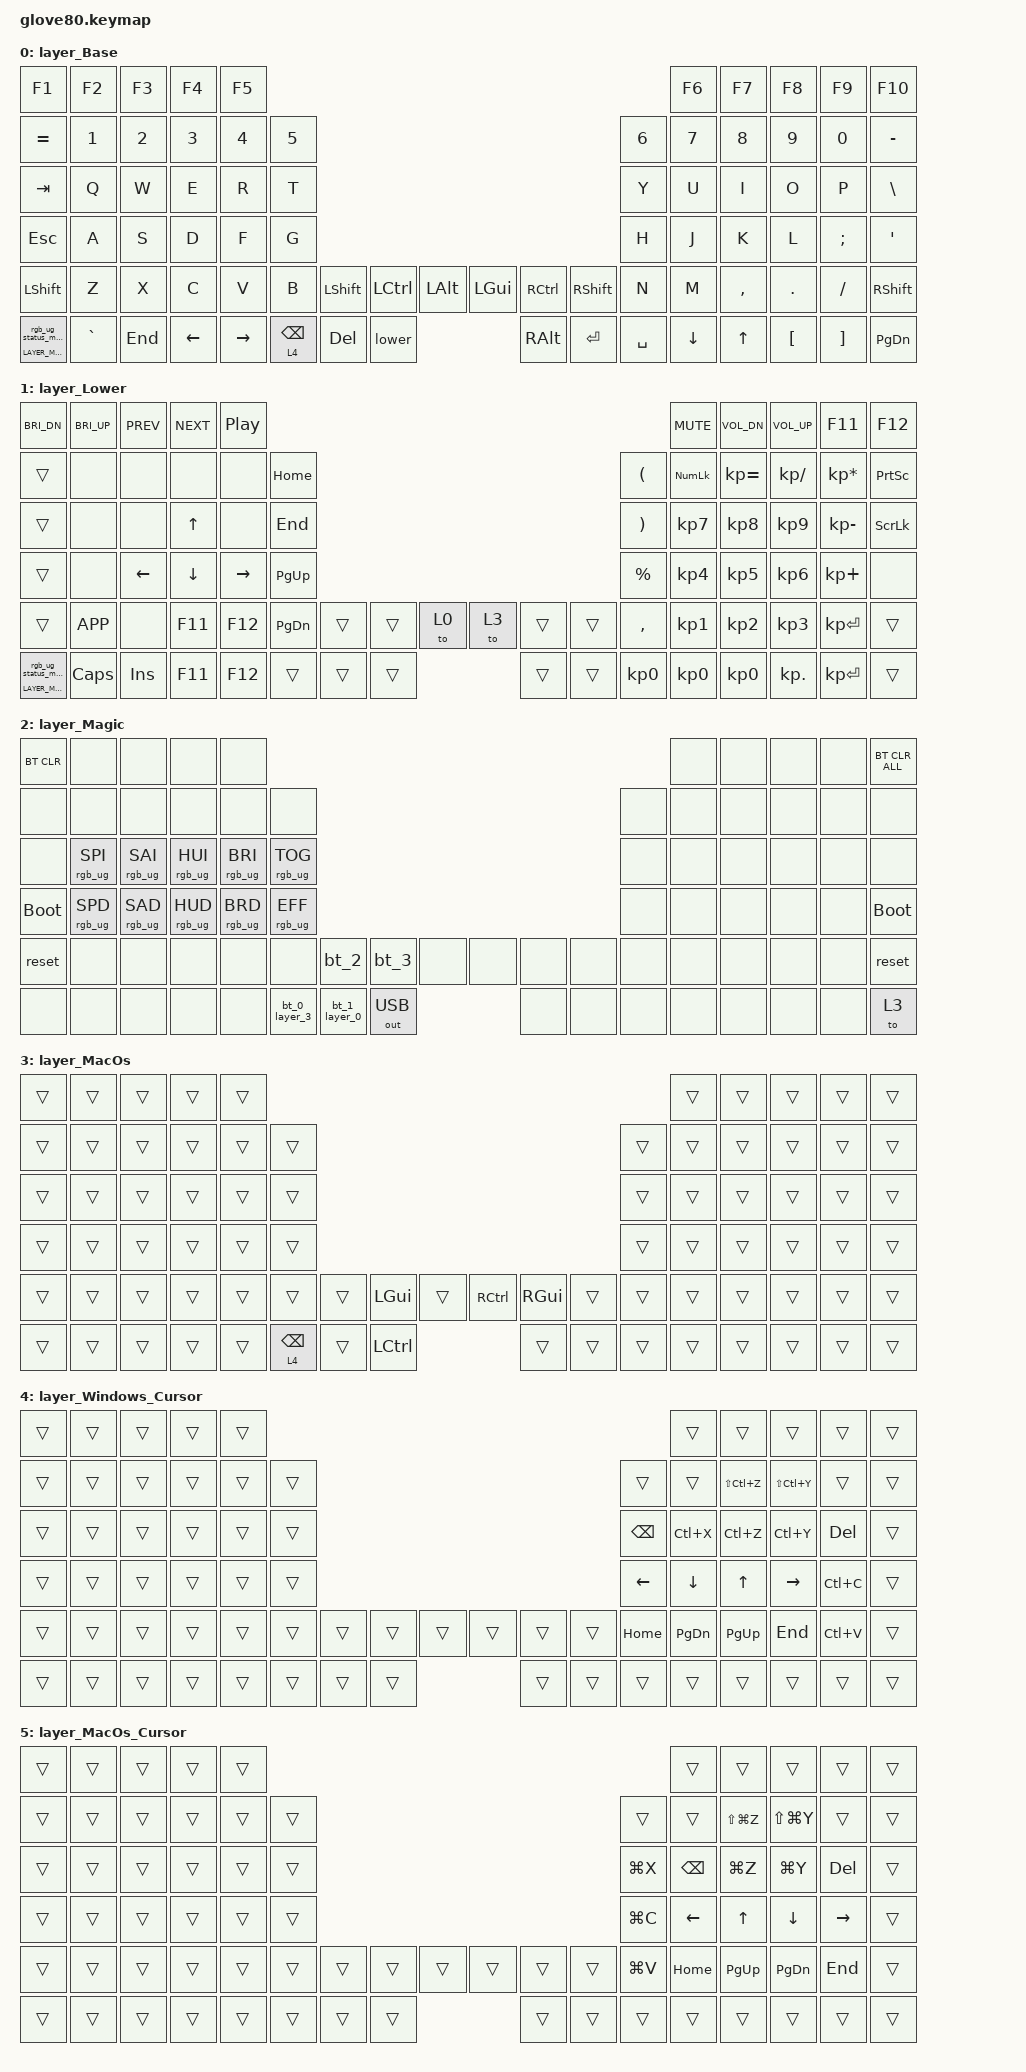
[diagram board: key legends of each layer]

/*
 * Copyright (c) 2020 The ZMK Contributors
 * Copyright (c) 2022 Innaworks Development Limited, trading as MoErgo
 *
 * SPDX-License-Identifier: MIT
 */


/* THIS FILE WAS GENERATED BY GLOVE80 LAYOUT EDITOR
 *
 * This file was generated automatically. You may or may not want to
 * edit it directly.
 */

#include <behaviors.dtsi>
/* Include all behaviour includes needed by system behaviors/macros */
#include <dt-bindings/zmk/outputs.h>

/* Include behaviour includes needed by key binds - automatically generated */
#include <dt-bindings/zmk/keys.h>
#include <dt-bindings/zmk/bt.h>
#include <dt-bindings/zmk/rgb.h>
#include <dt-bindings/zmk/outputs.h>

/* To deal with the situation where there is no Lower layer, to keep &lower happy */
// #define LAYER_Lower 0

/* Automatically generated layer name #define */
#define LAYER_Base 0
#define LAYER_Lower 1
#define LAYER_Magic 2
#define LAYER_MacOs 3
#define LAYER_Windows_Cursor 4
#define LAYER_MacOs_Cursor 5

/ {
    /* Glove80 system behavior & macros */
    behaviors {
        // For the "layer" key, it'd nice to be able to use it as either a shift or a toggle.
        // Configure it as a tap dance, so the first tap (or hold) is a &mo and the second tap is a &to
        lower: lower {
            compatible = "zmk,behavior-tap-dance";
            label = "LAYER_TAP_DANCE";
            #binding-cells = <0>;
            tapping-term-ms = <200>;
            bindings = <&mo LAYER_Lower>, <&to LAYER_Lower>;
        };
    };
};

/ {
    macros {
        rgb_ug_status_macro: rgb_ug_status_macro {
            label = "RGB_UG_STATUS";
            compatible = "zmk,behavior-macro";
            #binding-cells = <0>;
            bindings
                = <&rgb_ug RGB_STATUS>;
        };

        bt_0: bt_0 {
            label = "BT_0";
            compatible = "zmk,behavior-macro";
            #binding-cells = <0>;
            bindings
                = <&out OUT_BLE>,
                  <&bt BT_SEL 0>;
        };

        bt_1: bt_1 {
            label = "BT_1";
            compatible = "zmk,behavior-macro";
            #binding-cells = <0>;
            bindings
                = <&out OUT_BLE>,
                  <&bt BT_SEL 1>;
        };

        bt_2: bt_2 {
            label = "BT_2";
            compatible = "zmk,behavior-macro";
            #binding-cells = <0>;
            bindings
                = <&out OUT_BLE>,
                  <&bt BT_SEL 2>;
        };

        bt_3: bt_3 {
            label = "BT_3";
            compatible = "zmk,behavior-macro";
            #binding-cells = <0>;
            bindings
                = <&out OUT_BLE>,
                  <&bt BT_SEL 3>;
        };
    };
};

/ {
    magic: magic {
        compatible = "zmk,behavior-hold-tap";
        label = "MAGIC_HOLD_TAP";
        #binding-cells = <2>;
        flavor = "tap-preferred";
        tapping-term-ms = <200>;
        bindings = <&mo>, <&rgb_ug_status_macro>;
    };
};

    /* #define for key positions */
#define POS_LH_T1 52
#define POS_LH_T2 53
#define POS_LH_T3 54
#define POS_LH_T4 69
#define POS_LH_T5 70
#define POS_LH_T6 71
#define POS_LH_C1R2 15
#define POS_LH_C1R3 27
#define POS_LH_C1R4 39
#define POS_LH_C1R5 51
#define POS_LH_C2R1 4
#define POS_LH_C2R2 14
#define POS_LH_C2R3 26
#define POS_LH_C2R4 38
#define POS_LH_C2R5 50
#define POS_LH_C2R6 68
#define POS_LH_C3R1 3
#define POS_LH_C3R2 13
#define POS_LH_C3R3 25
#define POS_LH_C3R4 37
#define POS_LH_C3R5 49
#define POS_LH_C3R6 67
#define POS_LH_C4R1 2
#define POS_LH_C4R2 12
#define POS_LH_C4R3 24
#define POS_LH_C4R4 36
#define POS_LH_C4R5 48
#define POS_LH_C4R6 66
#define POS_LH_C5R1 1
#define POS_LH_C5R2 11
#define POS_LH_C5R3 23
#define POS_LH_C5R4 35
#define POS_LH_C5R5 47
#define POS_LH_C5R6 65
#define POS_LH_C6R1 0
#define POS_LH_C6R2 10
#define POS_LH_C6R3 22
#define POS_LH_C6R4 34
#define POS_LH_C6R5 46
#define POS_LH_C6R6 64
#define POS_RH_T1 57
#define POS_RH_T2 56
#define POS_RH_T3 55
#define POS_RH_T4 74
#define POS_RH_T5 73
#define POS_RH_T6 72
#define POS_RH_C1R2 16
#define POS_RH_C1R3 28
#define POS_RH_C1R4 40
#define POS_RH_C1R5 58
#define POS_RH_C2R1 5
#define POS_RH_C2R2 17
#define POS_RH_C2R3 29
#define POS_RH_C2R4 41
#define POS_RH_C2R5 59
#define POS_RH_C2R6 75
#define POS_RH_C3R1 6
#define POS_RH_C3R2 18
#define POS_RH_C3R3 30
#define POS_RH_C3R4 42
#define POS_RH_C3R5 60
#define POS_RH_C3R6 76
#define POS_RH_C4R1 7
#define POS_RH_C4R2 19
#define POS_RH_C4R3 31
#define POS_RH_C4R4 43
#define POS_RH_C4R5 61
#define POS_RH_C4R6 77
#define POS_RH_C5R1 8
#define POS_RH_C5R2 20
#define POS_RH_C5R3 32
#define POS_RH_C5R4 44
#define POS_RH_C5R5 62
#define POS_RH_C5R6 78
#define POS_RH_C6R1 9
#define POS_RH_C6R2 21
#define POS_RH_C6R3 33
#define POS_RH_C6R4 45
#define POS_RH_C6R5 63
#define POS_RH_C6R6 79

    /* Custom Defined Behaviors */
/ {
    //////////////////////////////////////////////////////////////////////
// NOTE: Use the `#define` settings below to customize this keymap! //
//////////////////////////////////////////////////////////////////////
// IMPORTANT: You need to set Firmware Version to "pr19.zephyr-3-2" //
// under Settings > Advanced Settings in the Glove80 Layout Editor  //
// if you want to use the `hold-trigger-on-release` feature in ZMK. //
//////////////////////////////////////////////////////////////////////
// CAUTION: PR19 firmware is not production quality; it has issues: //
// https://discord.com/channels/877392805654306816/1137025078979203142
//////////////////////////////////////////////////////////////////////
//
// Sunaku's Keymap v23 featuring Engrammer layout and legendary Miryoku
// - https://github.com/sunaku/glove80-keymaps
// - https://sunaku.github.io/moergo-glove80-keyboard.html
// - https://sunaku.github.io/engrammer-keyboard-layout.html
// - https://discord.com/channels/877392805654306816/1111469812850380831
//

behaviors {

    //
    // Miryoku layers and home row mods (ported from my QMK endgame)
    // - https://sunaku.github.io/home-row-mods.html#porting-to-zmk
    // - https://github.com/urob/zmk-config#timeless-homerow-mods
    //
    //----------------------------------------------------------------
    //               homey fingers (pinky, ring, middle)
    //----------------------------------------------------------------
    //
    // HOMEY_HOLDING_TYPE defines the flavor of ZMK hold-tap behavior to use
    // for the pinky, ring, and middle fingers (which are assigned to Super,
    // Alt, and Ctrl respectively in the Miryoku system) on home row keys.
    //
    #define HOMEY_HOLDING_TYPE "tap-preferred"
    //
    // HOMEY_HOLDING_TIME defines how long you need to hold (milliseconds)
    // home row mod keys in order to send their modifiers to the computer
    // (i.e. "register" them) for mod-click mouse usage (e.g. Ctrl-Click).
    //
    #define HOMEY_HOLDING_TIME 270 // TAPPING_TERM + ALLOW_CROSSOVER_AFTER
    //
    //
    // HOMEY_STREAK_DECAY defines how long you need to wait (milliseconds)
    // after typing before you can use home row mods again.  It prevents
    // unintended activation of home row mods when you're actively typing.
    //
    #define HOMEY_STREAK_DECAY 170 // global-quick-tap-ms
    //
    //----------------------------------------------------------------
    //                          index fingers
    //----------------------------------------------------------------
    //
    // INDEX_HOLDING_TYPE defines the flavor of ZMK hold-tap behavior to use
    // for index fingers (which Miryoku assigns to Shift) on home row keys.
    //
    // NOTE: The "tap-preferred" flavor of ZMK hold-tap for index finger keys
    // allows faster activation of the Shift modifier (without having to wait
    // for the modified key to be released as the "balanced" flavor requires).
    // Typing streaks and the `hold-trigger-on-release` setting are disabled
    // for the index fingers so as not to hinder their speed and dexterity.
    //
    #define INDEX_HOLDING_TYPE "tap-preferred"
    //
    // INDEX_HOLDING_TIME defines how long you need to hold (milliseconds)
    // index finger keys in order to send their modifiers to the computer
    // (i.e. "register" them) for mod-click mouse usage (e.g. Shift-Click).
    //
    // CAUTION: You'll need to perform inward rolls from pinky->ring->middle
    // fingers toward the index fingers when activating multiple modifiers
    // because `hold-trigger-on-release` is disabled for the index fingers.
    // Otherwise, you may be surprised that the index fingers' modifier is
    // sent immediately without the rest of your multi-mod chord when you
    // perform outward rolls from your index fingers toward your pinkies.
    //
    #define INDEX_HOLDING_TIME 170
    //
    // INDEX_STREAK_DECAY defines how long you need to wait (milliseconds)
    // after typing before you can use home row mods again.  It prevents
    // unintended activation of home row mods when you're actively typing.
    //
    #define INDEX_STREAK_DECAY 70 // global-quick-tap-ms
    //
    //----------------------------------------------------------------
    //                              thumbs
    //----------------------------------------------------------------
    //
    // THUMB_HOLDING_TYPE defines the flavor of ZMK hold-tap behavior to use
    // for the thumbs (which are assigned to 6 layers in the Miryoku system).
    //
    // NOTE: The "balanced" flavor of ZMK hold-tap provides instant modifier
    // activation for the symbol layer (if the tapped symbol key is released
    // while the thumb layer key is still held down) for quicker programming.
    //
    #define THUMB_HOLDING_TYPE "balanced"
    //
    // THUMB_HOLDING_TIME defines how long you need to hold (milliseconds)
    // a thumb key to activate a layer.  Shorter holds are treated as taps.
    //
    #define THUMB_HOLDING_TIME 170
    //
    // THUMB_REPEAT_DECAY defines how much time you have left (milliseconds)
    // after tapping a key to hold it again in order to make it auto-repeat.
    //
    #define THUMB_REPEAT_DECAY 200 // "tap then hold" for key auto-repeat
    //
    // Glove80 key positions index for positional hold-tap
    // - https://discord.com/channels/877392805654306816/937645688244826154/1066713913351221248
    // - https://media.discordapp.net/attachments/937645688244826154/1066713913133121556/image.png
    //
    // |------------------------|------------------------|
    // | LEFT_HAND_KEYS         |        RIGHT_HAND_KEYS |
    // |                        |                        |
    // |  0  1  2  3  4         |          5  6  7  8  9 |
    // | 10 11 12 13 14 15      |      16 17 18 19 20 21 |
    // | 22 23 24 25 26 27      |      28 29 30 31 32 33 |
    // | 34 35 36 37 38 39      |      40 41 42 43 44 45 |
    // | 46 47 48 49 50 51      |      58 59 60 61 62 63 |
    // | 64 65 66 67 68         |         75 76 77 78 79 |
    // |                69 52   |   57 74                |
    // |                 70 53  |  56 73                 |
    // |                  71 54 | 55 72                  |
    // |------------------------|------------------------|
    //
    #define LEFT_HAND_KEYS      \
          0  1  2  3  4         \
         10 11 12 13 14 15      \
         22 23 24 25 26 27      \
         34 35 36 37 38 39      \
         46 47 48 49 50 51      \
         64 65 66 67 68
    #define RIGHT_HAND_KEYS     \
                                           5  6  7  8  9 \
                                       16 17 18 19 20 21 \
                                       28 29 30 31 32 33 \
                                       40 41 42 43 44 45 \
                                       58 59 60 61 62 63 \
                                          75 76 77 78 79
    #define THUMB_KEYS          \
                        69 52       57 74                \
                         70 53     56 73                 \
                          71 54   55 72
    //
    // Home row mod-tap keys for all except index fingers
    //
    homey_left: miryoku_home_row_mods_left_hand {
        compatible = "zmk,behavior-hold-tap";
        label = "HOME_ROW_MODS_LEFT_HAND";
        flavor = HOMEY_HOLDING_TYPE;
        hold-trigger-key-positions = <RIGHT_HAND_KEYS THUMB_KEYS>;
        hold-trigger-on-release; // wait for other home row mods
        tapping-term-ms = <HOMEY_HOLDING_TIME>;
        quick-tap-ms = <HOMEY_STREAK_DECAY>;
        global-quick-tap; // with typing streak
        #binding-cells = <2>;
        bindings = <&kp>, <&kp>;
    };
    homey_right: miryoku_home_row_mods_right_hand {
        compatible = "zmk,behavior-hold-tap";
        label = "HOME_ROW_MODS_RIGHT_HAND";
        flavor = HOMEY_HOLDING_TYPE;
        hold-trigger-key-positions = <LEFT_HAND_KEYS THUMB_KEYS>;
        hold-trigger-on-release; // wait for other home row mods
        tapping-term-ms = <HOMEY_HOLDING_TIME>;
        quick-tap-ms = <HOMEY_STREAK_DECAY>;
        global-quick-tap; // with typing streak
        #binding-cells = <2>;
        bindings = <&kp>, <&kp>;
    };
    //
    // Special home row mod-tap keys for the index fingers
    //
    index_left: miryoku_home_row_mods_left_index_shift {
        compatible = "zmk,behavior-hold-tap";
        label = "HOME_ROW_MODS_LEFT_INDEX_SHIFT";
        flavor = INDEX_HOLDING_TYPE;
        hold-trigger-key-positions = <RIGHT_HAND_KEYS THUMB_KEYS>;
        //hold-trigger-on-release; // don't wait for other mods
        tapping-term-ms = <INDEX_HOLDING_TIME>;
        quick-tap-ms = <INDEX_STREAK_DECAY>;
        global-quick-tap; // with typing streak
        #binding-cells = <2>;
        bindings = <&kp>, <&kp>;
    };
    index_right: miryoku_home_row_mods_right_index_shift {
        compatible = "zmk,behavior-hold-tap";
        label = "HOME_ROW_MODS_RIGHT_INDEX_SHIFT";
        flavor = INDEX_HOLDING_TYPE;
        hold-trigger-key-positions = <LEFT_HAND_KEYS THUMB_KEYS>;
        //hold-trigger-on-release; // don't wait for other mods
        tapping-term-ms = <INDEX_HOLDING_TIME>;
        quick-tap-ms = <INDEX_STREAK_DECAY>;
        global-quick-tap; // with typing streak
        #binding-cells = <2>;
        bindings = <&kp>, <&kp>;
    };
    //
    // Thumb cluster hold-tap keys for Miryoku layers
    //
    thumb: miryoku_thumb_layer {
        compatible = "zmk,behavior-hold-tap";
        label = "MIRYOKU_LAYER_TAP_WITH_REPEAT";
        flavor = THUMB_HOLDING_TYPE;
        tapping-term-ms = <THUMB_HOLDING_TIME>;
        quick-tap-ms = <THUMB_REPEAT_DECAY>; // enable repeat
        //global-quick-tap; // no typing streak
        retro-tap; // allow slow (hold-like) taps
        #binding-cells = <2>;
        bindings = <&mo>, <&kp>;
    };

    // Shift + LEFT_PARENTHESIS = LESS_THAN
    parang_left: left_parenthesis_and_less_than {
        compatible = "zmk,behavior-mod-morph";
        label = "LEFT_PARENTHESIS_AND_LESS_THAN";
        #binding-cells = <0>;
        bindings = <&kp LEFT_PARENTHESIS>, <&kp LESS_THAN>;
        mods = <(MOD_LSFT|MOD_RSFT)>;
    };

    // Shift + RIGHT_PARENTHESIS = GREATER_THAN
    parang_right: right_parenthesis_and_greater_than {
        compatible = "zmk,behavior-mod-morph";
        label = "RIGHT_PARENTHESIS_AND_GREATER_THAN";
        #binding-cells = <0>;
        bindings = <&kp RIGHT_PARENTHESIS>, <&kp GREATER_THAN>;
        mods = <(MOD_LSFT|MOD_RSFT)>;
    };

    // Shift + CapsWord = CapsLock
    cappy: capsword_and_capslock {
        compatible = "zmk,behavior-mod-morph";
        label = "CAPSWORD_AND_CAPSLOCK";
        #binding-cells = <0>;
        bindings = <&caps_word>, <&kp CAPSLOCK>;
        mods = <(MOD_LSFT|MOD_RSFT)>;
    };

    //
    // CapsWord - ported from Pascal Getreuer's extension for QMK
    // - https://zmk.dev/docs/behaviors/caps-word
    // - https://getreuer.info/posts/keyboards/caps-word/index.html
    //
    behavior_caps_word {
        continue-list = <UNDERSCORE MINUS BACKSPACE DELETE N1 N2 N3 N4 N5 N6 N7 N8 N9 N0>;
    };

};

macros {

    //////////////////////////////////////////////////////////////////
    // Approximation of Pascal Getreuer's Select Word macro from QMK
    // - https://getreuer.info/posts/keyboards/select-word/index.html
    //////////////////////////////////////////////////////////////////
    //
    // SELECT_WORD_DELAY defines how long the macro waits (milliseconds)
    // after moving the cursor before it selects a word.  A larger delay
    // may allow the macro to move to the next word upon each invocation.
    //
    #define SELECT_WORD_DELAY 10

    select_word_right: select_word_right {
        compatible = "zmk,behavior-macro";
        label = "SELECT_WORD_RIGHT";
        #binding-cells = <0>;
        tap-ms = <0>;
        wait-ms = <0>;
        bindings
        = <&macro_tap &kp LC(RIGHT)>
        , <&macro_wait_time SELECT_WORD_DELAY> // let cursor move to the next word!
        , <&macro_tap &kp LC(LEFT) &kp LC(LS(RIGHT))>
        ;
    };
    extend_word_right: extend_word_right {
        compatible = "zmk,behavior-macro";
        label = "EXTEND_WORD_RIGHT";
        #binding-cells = <0>;
        tap-ms = <0>;
        wait-ms = <0>;
        bindings
        = <&macro_tap &kp LC(LS(RIGHT))>
        ;
    };
    select_line_right: select_line_right {
        compatible = "zmk,behavior-macro";
        label = "SELECT_LINE_RIGHT";
        #binding-cells = <0>;
        tap-ms = <0>;
        wait-ms = <0>;
        bindings
        = <&macro_tap &kp HOME &kp LS(END)>
        ;
    };
    extend_line_right: extend_line_right {
        compatible = "zmk,behavior-macro";
        label = "EXTEND_LINE_RIGHT";
        #binding-cells = <0>;
        tap-ms = <0>;
        wait-ms = <0>;
        bindings
        = <&macro_tap &kp LS(DOWN) &kp LS(END)>
        ;
    };
    select_word_left: select_word_left {
        compatible = "zmk,behavior-macro";
        label = "SELECT_WORD_LEFT";
        #binding-cells = <0>;
        tap-ms = <0>;
        wait-ms = <0>;
        bindings
        = <&macro_tap &kp LC(LEFT)>
        , <&macro_wait_time SELECT_WORD_DELAY> // let cursor move to the next word!
        , <&macro_tap &kp LC(RIGHT) &kp LC(LS(LEFT))>
        ;
    };
    extend_word_left: extend_word_left {
        compatible = "zmk,behavior-macro";
        label = "EXTEND_WORD_LEFT";
        #binding-cells = <0>;
        tap-ms = <0>;
        wait-ms = <0>;
        bindings
        = <&macro_tap &kp LC(LS(LEFT))>
        ;
    };
    select_line_left: select_line_left {
        compatible = "zmk,behavior-macro";
        label = "SELECT_LINE_LEFT";
        #binding-cells = <0>;
        tap-ms = <0>;
        wait-ms = <0>;
        bindings
        = <&macro_tap &kp END &kp LS(HOME)>
        ;
    };
    extend_line_left: extend_line_left {
        compatible = "zmk,behavior-macro";
        label = "EXTEND_LINE_LEFT";
        #binding-cells = <0>;
        tap-ms = <0>;
        wait-ms = <0>;
        bindings
        = <&macro_tap &kp LS(UP) &kp LS(HOME)>
        ;
    };
    select_word: select_word {
        compatible = "zmk,behavior-mod-morph";
        label = "SELECT_WORD";
        #binding-cells = <0>;
        bindings = <&select_word_right>, <&select_word_left>;
        mods = <(MOD_LSFT|MOD_RSFT)>;
    };
    extend_word: extend_word {
        compatible = "zmk,behavior-mod-morph";
        label = "EXTEND_WORD";
        #binding-cells = <0>;
        bindings = <&extend_word_right>, <&extend_word_left>;
        mods = <(MOD_LSFT|MOD_RSFT)>;
    };
    select_line: select_line {
        compatible = "zmk,behavior-mod-morph";
        label = "SELECT_LINE";
        #binding-cells = <0>;
        bindings = <&select_line_right>, <&select_line_left>;
        mods = <(MOD_LSFT|MOD_RSFT)>;
    };
    extend_line: extend_line {
        compatible = "zmk,behavior-mod-morph";
        label = "EXTEND_LINE";
        #binding-cells = <0>;
        bindings = <&extend_line_right>, <&extend_line_left>;
        mods = <(MOD_LSFT|MOD_RSFT)>;
    };

    bt_0_layer_3: bt_0_layer_3 {
        label = "BT_0";
        compatible = "zmk,behavior-macro";
        #binding-cells = <0>;
        bindings
            = <&out OUT_BLE>,
              <&bt BT_SEL 0>,
              <&to 3>;
    };

    bt_1_layer_0: bt_1_layer_0 {
        label = "BT_1";
        compatible = "zmk,behavior-macro";
        #binding-cells = <0>;
        bindings
            = <&out OUT_BLE>,
              <&bt BT_SEL 1>,
              <&to 0>;
    };
};
};

    /* Automatically generated keymap */
/ {
    keymap {
        compatible = "zmk,keymap";


        layer_Base {
            bindings = <
               &kp F1     &kp F2   &kp F3    &kp F4     &kp F5                                                                                             &kp F6     &kp F7    &kp F8    &kp F9    &kp F10
            &kp EQUAL     &kp N1   &kp N2    &kp N3     &kp N4  &kp N5                                                                           &kp N6    &kp N7     &kp N8    &kp N9    &kp N0  &kp MINUS
              &kp TAB      &kp Q    &kp W     &kp E      &kp R   &kp T                                                                            &kp Y     &kp U      &kp I     &kp O     &kp P   &kp BSLH
              &kp ESC      &kp A    &kp S     &kp D      &kp F   &kp G                                                                            &kp H     &kp J      &kp K     &kp L  &kp SEMI    &kp SQT
            &kp LSHFT      &kp Z    &kp X     &kp C      &kp V   &kp B           &kp LSHFT  &kp LCTRL  &kp LALT  &kp LGUI  &kp RCTRL  &kp RSHFT   &kp N     &kp M  &kp COMMA   &kp DOT  &kp FSLH  &kp RSHFT
 &magic LAYER_Magic 0  &kp GRAVE  &kp END  &kp LEFT  &kp RIGHT          &thumb 4 BACKSPACE    &kp DEL    &lower  &kp RALT    &kp RET  &kp SPACE          &kp DOWN     &kp UP  &kp LBKT  &kp RBKT  &kp PG_DN
            >;
        };

        layer_Lower {
            bindings = <
         &kp C_BRI_DN  &kp C_BRI_UP      &kp C_PREV      &kp C_NEXT         &kp C_PP                                                                                       &kp C_MUTE  &kp C_VOL_DN  &kp C_VOL_UP          &kp F11          &kp F12
               &trans         &none           &none           &none            &none   &kp HOME                                                      &kp LEFT_PARENTHESIS  &kp KP_NUM  &kp KP_EQUAL  &kp KP_SLASH  &kp KP_MULTIPLY  &kp PRINTSCREEN
               &trans         &none           &none    &kp UP_ARROW            &none    &kp END                                                     &kp RIGHT_PARENTHESIS   &kp KP_N7     &kp KP_N8     &kp KP_N9     &kp KP_MINUS   &kp SCROLLLOCK
               &trans         &none  &kp LEFT_ARROW  &kp DOWN_ARROW  &kp RIGHT_ARROW  &kp PG_UP                                                               &kp PERCENT   &kp KP_N4     &kp KP_N5     &kp KP_N6      &kp KP_PLUS            &none
               &trans     &kp K_APP           &none         &kp F11          &kp F12  &kp PG_DN  &trans  &trans   &to 0   &to 3  &trans     &trans              &kp COMMA   &kp KP_N1     &kp KP_N2     &kp KP_N3     &kp KP_ENTER           &trans
 &magic LAYER_Magic 0      &kp CAPS         &kp INS         &kp F11          &kp F12             &trans  &trans  &trans  &trans  &trans  &kp KP_N0                          &kp KP_N0     &kp KP_N0    &kp KP_DOT     &kp KP_ENTER           &trans
            >;
        };

        layer_Magic {
            bindings = <
  &bt BT_CLR            &none            &none            &none            &none                                                                                                &none   &none   &none   &none  &bt BT_CLR_ALL
       &none            &none            &none            &none            &none            &none                                                                       &none   &none   &none   &none   &none           &none
       &none  &rgb_ug RGB_SPI  &rgb_ug RGB_SAI  &rgb_ug RGB_HUI  &rgb_ug RGB_BRI  &rgb_ug RGB_TOG                                                                       &none   &none   &none   &none   &none           &none
 &bootloader  &rgb_ug RGB_SPD  &rgb_ug RGB_SAD  &rgb_ug RGB_HUD  &rgb_ug RGB_BRD  &rgb_ug RGB_EFF                                                                       &none   &none   &none   &none   &none     &bootloader
      &reset            &none            &none            &none            &none            &none          &bt_2          &bt_3         &none   &none   &none   &none   &none   &none   &none   &none   &none          &reset
       &none            &none            &none            &none            &none                   &bt_0_layer_3  &bt_1_layer_0  &out OUT_USB   &none   &none   &none           &none   &none   &none   &none           &to 3
            >;
        };

        layer_MacOs {
            bindings = <
 &trans  &trans  &trans  &trans  &trans                                                                                        &trans  &trans  &trans  &trans  &trans
 &trans  &trans  &trans  &trans  &trans  &trans                                                                        &trans  &trans  &trans  &trans  &trans  &trans
 &trans  &trans  &trans  &trans  &trans  &trans                                                                        &trans  &trans  &trans  &trans  &trans  &trans
 &trans  &trans  &trans  &trans  &trans  &trans                                                                        &trans  &trans  &trans  &trans  &trans  &trans
 &trans  &trans  &trans  &trans  &trans  &trans              &trans  &kp LGUI     &trans  &kp RCTRL  &kp RGUI  &trans  &trans  &trans  &trans  &trans  &trans  &trans
 &trans  &trans  &trans  &trans  &trans          &thumb 4 BACKSPACE    &trans  &kp LCTRL     &trans    &trans  &trans          &trans  &trans  &trans  &trans  &trans
            >;
        };

        layer_Windows_Cursor {
            bindings = <
 &trans  &trans  &trans  &trans  &trans                                                                       &trans         &trans         &trans     &trans  &trans
 &trans  &trans  &trans  &trans  &trans  &trans                                                    &trans     &trans  &kp LS(LC(Z))  &kp LS(LC(Y))     &trans  &trans
 &trans  &trans  &trans  &trans  &trans  &trans                                                  &kp BSPC  &kp LC(X)      &kp LC(Z)      &kp LC(Y)    &kp DEL  &trans
 &trans  &trans  &trans  &trans  &trans  &trans                                                  &kp LEFT   &kp DOWN         &kp UP      &kp RIGHT  &kp LC(C)  &trans
 &trans  &trans  &trans  &trans  &trans  &trans  &trans  &trans  &trans  &trans  &trans  &trans  &kp HOME  &kp PG_DN      &kp PG_UP        &kp END  &kp LC(V)  &trans
 &trans  &trans  &trans  &trans  &trans          &trans  &trans  &trans  &trans  &trans  &trans               &trans         &trans         &trans     &trans  &trans
            >;
        };

        layer_MacOs_Cursor {
            bindings = <
 &trans  &trans  &trans  &trans  &trans                                                                       &trans         &trans         &trans     &trans  &trans
 &trans  &trans  &trans  &trans  &trans  &trans                                                     &trans    &trans  &kp LS(LG(Z))  &kp LS(LG(Y))     &trans  &trans
 &trans  &trans  &trans  &trans  &trans  &trans                                                  &kp LG(X)  &kp BSPC      &kp LG(Z)      &kp LG(Y)    &kp DEL  &trans
 &trans  &trans  &trans  &trans  &trans  &trans                                                  &kp LG(C)  &kp LEFT         &kp UP       &kp DOWN  &kp RIGHT  &trans
 &trans  &trans  &trans  &trans  &trans  &trans  &trans  &trans  &trans  &trans  &trans  &trans  &kp LG(V)  &kp HOME      &kp PG_UP      &kp PG_DN    &kp END  &trans
 &trans  &trans  &trans  &trans  &trans          &trans  &trans  &trans  &trans  &trans  &trans               &trans         &trans         &trans     &trans  &trans
            >;
        };

    };
};
